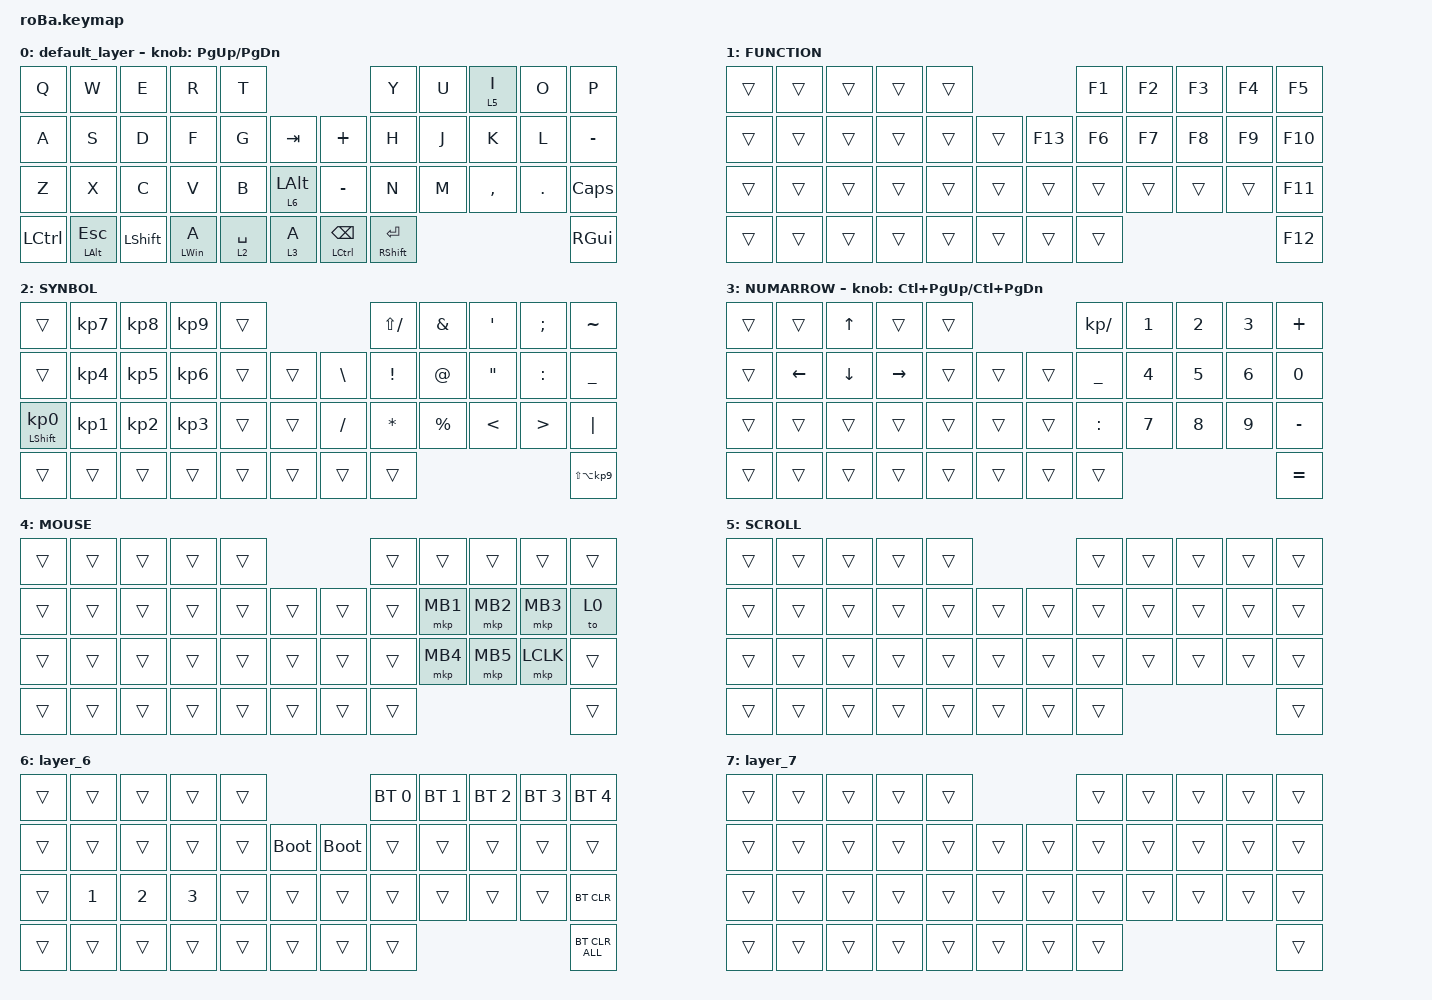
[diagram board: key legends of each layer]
#include <behaviors.dtsi>
#include <dt-bindings/zmk/bt.h>
#include <dt-bindings/zmk/keys.h>
#include <dt-bindings/zmk/pointing.h>

#define MOUSE 4
#define SCROLL 5
#define NUM 6

&mt {
    flavor = "balanced";
    quick-tap-ms = <0>;
};

/ {
    combos {
        compatible = "zmk,combos";

        tab {
            bindings = <&kp TAB>;
            key-positions = <11 12>;
        };

        kakkoL {
            bindings = <&kp LEFT_PARENTHESIS>;
            key-positions = <6 7>;
        };

        kakkoR {
            bindings = <&kp RIGHT_PARENTHESIS>;
            key-positions = <8 7>;
        };

        kakkozl. {
            bindings = <&kp LEFT_BRACKET>;
            key-positions = <18 19>;
        };

        kakkoR2 {
            bindings = <&kp RIGHT_BRACKET>;
            key-positions = <19 20>;
        };

        kakkoL3 {
            bindings = <&kp LEFT_BRACE>;
            key-positions = <30 31>;
        };

        kakkoR3 {
            bindings = <&kp RIGHT_BRACE>;
            key-positions = <31 32>;
        };

        excla {
            bindings = <&kp EXCLAMATION>;
            key-positions = <18 17>;
        };

        question {
            bindings = <&kp LS(SLASH)>;
            key-positions = <6 5>;
        };

        pipe {
            bindings = <&kp PIPE>;
            key-positions = <1 2>;
        };

        caps {
            bindings = <&kp CAPS>;
            key-positions = <20 21>;
        };

        mic_l {
            bindings = <&kp LS(LC(M))>;
            key-positions = <11 12 13>;
        };

        mic_n_l {
            bindings = <&kp LC(LS(N))>;
            key-positions = <1 2 3>;
        };

        mic_n_r {
            bindings = <&kp LC(LS(N))>;
            key-positions = <6 7 8>;
        };

        mic_r {
            bindings = <&kp LC(LS(M))>;
            key-positions = <18 20 19>;
        };
    };

    macros {
        to_layer_0: to_layer_0 {
            compatible = "zmk,behavior-macro-one-param";
            #binding-cells = <1>;
            bindings = <&to 0 &macro_param_1to1 &kp MACRO_PLACEHOLDER>;
            label = "TO_LAYER_0";
        };
    };

    behaviors {
        lt_to_layer_0: lt_to_layer_0 {
            compatible = "zmk,behavior-hold-tap";
            label = "LAYER_TAP_TO_0";
            bindings = <&mo>, <&to_layer_0>;

            #binding-cells = <2>;
            tapping-term-ms = <200>;
        };
    };

    keymap {
        compatible = "zmk,keymap";

        default_layer {
            bindings = <
&kp Q             &kp W                &kp E           &kp R           &kp T                                                        &kp Y                  &kp U  &lt 5 I    &kp O    &kp P
&kp A             &kp S                &kp D           &kp F           &kp G        &kp TAB             &kp PLUS                    &kp H                  &kp J  &kp K      &kp L    &kp MINUS
&kp Z             &kp X                &kp C           &kp V           &kp B        &lt 6 LEFT_ALT      &kp MINUS                   &kp N                  &kp M  &kp COMMA  &kp DOT  &kp CAPS
&kp LEFT_CONTROL  &mt LEFT_ALT ESCAPE  &kp LEFT_SHIFT  &mt LEFT_WIN A  &lt 2 SPACE  &lt 3 A             &mt LEFT_CONTROL BACKSPACE  &mt RIGHT_SHIFT ENTER                             &kp RIGHT_GUI
            >;

            sensor-bindings = <&inc_dec_kp PG_UP PAGE_DOWN>;
        };

        FUNCTION {
            bindings = <
&trans  &trans  &trans  &trans  &trans                       &kp F1  &kp F2  &kp F3  &kp F4  &kp F5
&trans  &trans  &trans  &trans  &trans  &trans      &kp F13  &kp F6  &kp F7  &kp F8  &kp F9  &kp F10
&trans  &trans  &trans  &trans  &trans  &trans      &trans   &trans  &trans  &trans  &trans  &kp F11
&trans  &trans  &trans  &trans  &trans  &trans      &trans   &trans                          &kp F12
            >;
        };

        SYNBOL {
            bindings = <
&trans                      &kp KP_NUMBER_7  &kp KP_NUMBER_8  &kp KP_NUMBER_9  &trans                             &kp LS(SLASH)    &kp AMPERSAND  &kp SINGLE_QUOTE   &kp SEMICOLON     &kp TILDE
&trans                      &kp KP_NUMBER_4  &kp KP_NUMBER_5  &kp KP_NUMBER_6  &trans  &trans      &kp BACKSLASH  &kp EXCLAMATION  &kp AT_SIGN    &kp DOUBLE_QUOTES  &kp COLON         &kp UNDER
&mt LEFT_SHIFT KP_NUMBER_0  &kp KP_NUMBER_1  &kp KP_NUMBER_2  &kp KP_NUMBER_3  &trans  &trans      &kp SLASH      &kp ASTERISK     &kp PERCENT    &kp LESS_THAN      &kp GREATER_THAN  &kp PIPE
&trans                      &trans           &trans           &trans           &trans  &trans      &trans         &trans                                                               &kp LS(LA(KP_NUMBER_9))
            >;
        };

        NUMARROW {
            bindings = <
&trans  &trans          &kp UP_ARROW    &trans           &trans                      &kp KP_SLASH  &kp NUMBER_1  &kp NUMBER_2  &kp NUMBER_3  &kp PLUS
&trans  &kp LEFT_ARROW  &kp DOWN_ARROW  &kp RIGHT_ARROW  &trans  &trans      &trans  &kp UNDER     &kp NUMBER_4  &kp NUMBER_5  &kp NUMBER_6  &kp NUMBER_0
&trans  &trans          &trans          &trans           &trans  &trans      &trans  &kp COLON     &kp NUMBER_7  &kp NUMBER_8  &kp NUMBER_9  &kp MINUS
&trans  &trans          &trans          &trans           &trans  &trans      &trans  &trans                                                  &kp EQUAL
            >;

            sensor-bindings = <&inc_dec_kp LC(PAGE_UP) LC(PAGE_DOWN)>;
        };

        MOUSE {
            bindings = <
&trans  &trans  &trans  &trans  &trans                      &trans  &trans    &trans    &trans     &trans
&trans  &trans  &trans  &trans  &trans  &trans      &trans  &trans  &mkp MB1  &mkp MB2  &mkp MB3   &to 0
&trans  &trans  &trans  &trans  &trans  &trans      &trans  &trans  &mkp MB4  &mkp MB5  &mkp LCLK  &trans
&trans  &trans  &trans  &trans  &trans  &trans      &trans  &trans                                 &trans
            >;
        };

        SCROLL {
            bindings = <
&trans  &trans  &trans  &trans  &trans                      &trans  &trans  &trans  &trans  &trans
&trans  &trans  &trans  &trans  &trans  &trans      &trans  &trans  &trans  &trans  &trans  &trans
&trans  &trans  &trans  &trans  &trans  &trans      &trans  &trans  &trans  &trans  &trans  &trans
&trans  &trans  &trans  &trans  &trans  &trans      &trans  &trans                          &trans
            >;
        };

        layer_6 {
            bindings = <
&trans  &trans        &trans        &trans        &trans                                &bt BT_SEL 0  &bt BT_SEL 1  &bt BT_SEL 2  &bt BT_SEL 3  &bt BT_SEL 4
&trans  &trans        &trans        &trans        &trans  &bootloader      &bootloader  &trans        &trans        &trans        &trans        &trans
&trans  &kp NUMBER_1  &kp NUMBER_2  &kp NUMBER_3  &trans  &trans           &trans       &trans        &trans        &trans        &trans        &bt BT_CLR
&trans  &trans        &trans        &trans        &trans  &trans           &trans       &trans                                                  &bt BT_CLR_ALL
            >;
        };

        layer_7 {
            bindings = <
&trans  &trans  &trans  &trans  &trans                      &trans  &trans  &trans  &trans  &trans
&trans  &trans  &trans  &trans  &trans  &trans      &trans  &trans  &trans  &trans  &trans  &trans
&trans  &trans  &trans  &trans  &trans  &trans      &trans  &trans  &trans  &trans  &trans  &trans
&trans  &trans  &trans  &trans  &trans  &trans      &trans  &trans                          &trans
            >;
        };
    };
};
